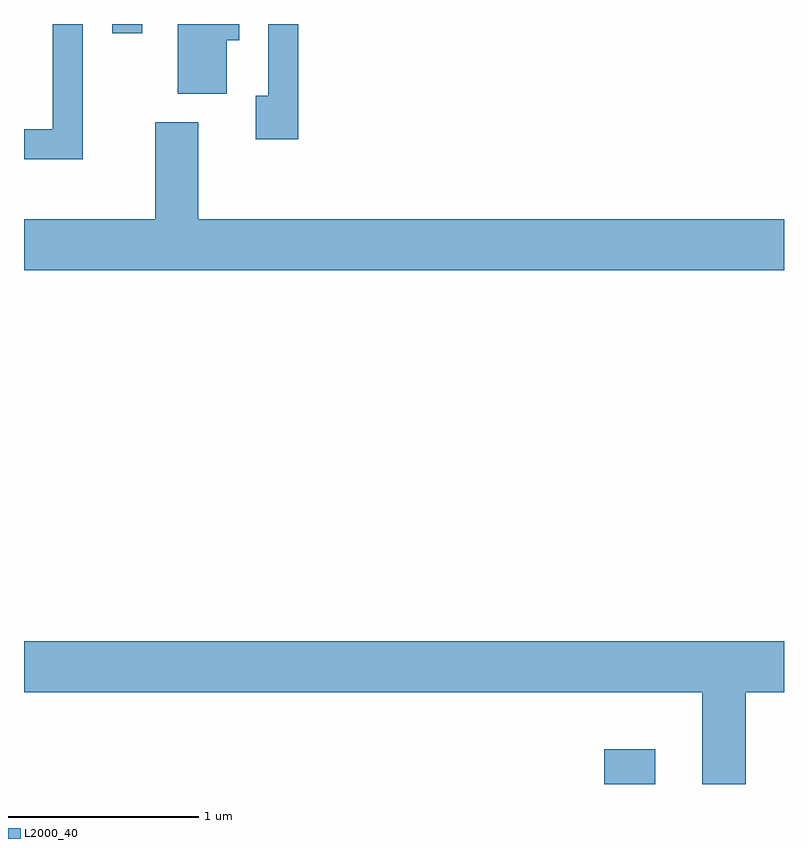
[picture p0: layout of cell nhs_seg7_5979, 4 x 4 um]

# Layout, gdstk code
import gdstk
lib = gdstk.Library(unit=1e-6, precision=1e-09)
def R(c, l, rs):  # rectangles x0, y0, x1, y1
    for r in rs: c.add(gdstk.rectangle(r[:2], r[2:], *l))
def P(c, l, *ps):  # polygons
    for p in ps: c.add(gdstk.Polygon(p, *l))
L2000_40 = (2000, 40)

nhs_seg7_5979 = lib.new_cell('nhs_seg7_5979')
R(nhs_seg7_5979, L2000_40, [(370.666,1738.252,370.934,1738.434), (368.076,1742.203,368.234,1742.252)])
P(nhs_seg7_5979, L2000_40, [(369.054,1742.252),(368.896,1742.252),(368.896,1741.874),(368.831,1741.874),(368.831,1741.646),(369.054,1741.646)],
  [(367.919,1742.252),(367.761,1742.252),(367.761,1741.699),(367.611,1741.699),(367.611,1741.541),(367.919,1741.541)],
  [(368.679,1742.166),(368.744,1742.166),(368.744,1742.252),(368.421,1742.252),(368.421,1741.886),(368.679,1741.886)],
  [(371.611,1741.224),(368.529,1741.224),(368.529,1741.734),(368.301,1741.734),(368.301,1741.224),(367.611,1741.224),(367.611,1740.956),(371.611,1740.956)],
  [(371.409,1738.736),(371.611,1738.736),(371.611,1739.004),(367.611,1739.004),(367.611,1738.736),(371.181,1738.736),(371.181,1738.252),(371.409,1738.252)])

lib.write_gds('nhs_seg7_5979.gds')
